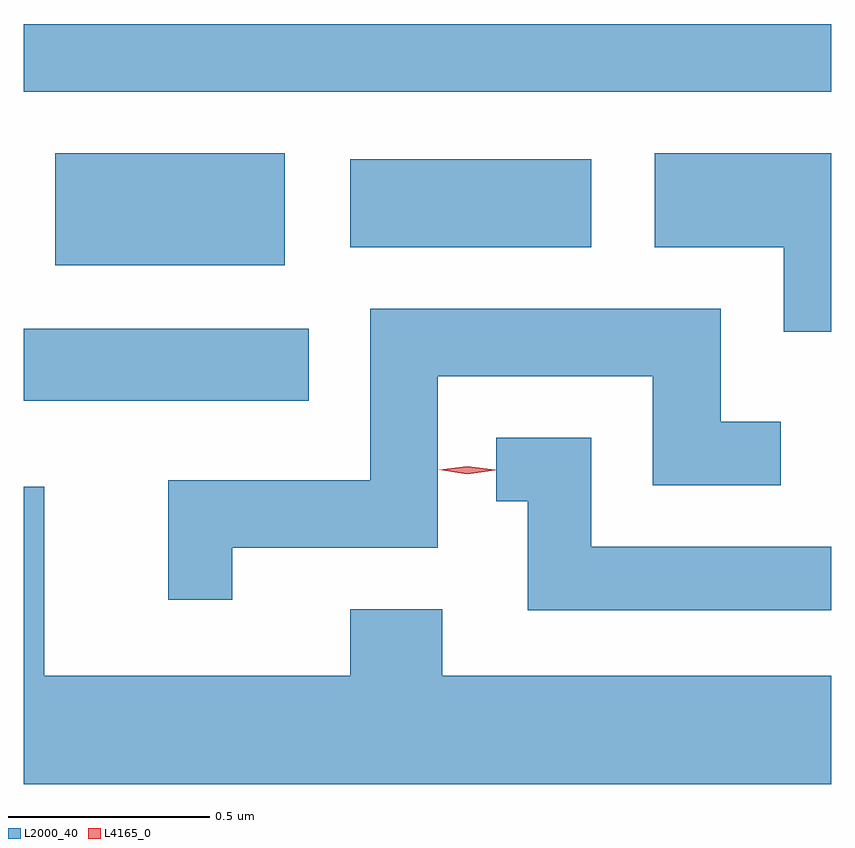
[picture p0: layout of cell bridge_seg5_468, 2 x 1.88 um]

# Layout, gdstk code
import gdstk
lib = gdstk.Library(unit=1e-6, precision=1e-09)
def R(c, l, rs):  # rectangles x0, y0, x1, y1
    for r in rs: c.add(gdstk.rectangle(r[:2], r[2:], *l))
def P(c, l, *ps):  # polygons
    for p in ps: c.add(gdstk.Polygon(p, *l))
L2000_40 = (2000, 40)
L4165_0 = (4165, 0)

bridge_seg5_468 = lib.new_cell('bridge_seg5_468')
R(bridge_seg5_468, L2000_40, [(368.733,1502.146,369.439,1502.324), (368.811,1502.481,369.379,1502.759), (369.541,1502.526,370.139,1502.744), (368.733,1502.911,370.733,1503.079)])
P(bridge_seg5_468, L2000_40, [(370.733,1502.759),(370.296,1502.759),(370.296,1502.526),(370.616,1502.526),(370.616,1502.316),(370.733,1502.316)],
  [(369.249,1501.781),(369.759,1501.781),(369.759,1502.206),(370.291,1502.206),(370.291,1501.936),(370.608,1501.936),(370.608,1502.094),(370.459,1502.094),(370.459,1502.374),(369.591,1502.374),(369.591,1501.949),(369.091,1501.949),(369.091,1501.653),(369.249,1501.653)],
  [(370.733,1501.784),(370.139,1501.784),(370.139,1502.054),(369.903,1502.054),(369.903,1501.896),(369.981,1501.896),(369.981,1501.626),(370.733,1501.626)],
  [(370.733,1501.464),(369.769,1501.464),(369.769,1501.629),(369.541,1501.629),(369.541,1501.464),(368.784,1501.464),(368.784,1501.933),(368.733,1501.933),(368.733,1501.196),(370.733,1501.196)])
P(bridge_seg5_468, L4165_0, [(369.831,1501.964),(369.762,1501.974),(369.762,1501.974),(369.762,1501.974),(369.831,1501.983),(369.901,1501.974),(369.901,1501.973),(369.901,1501.973)])

lib.write_gds('bridge_seg5_468.gds')
